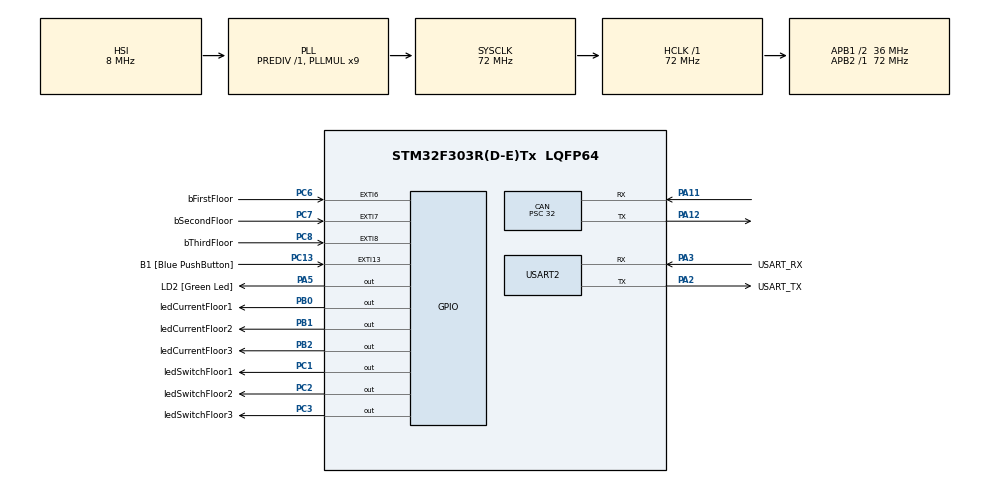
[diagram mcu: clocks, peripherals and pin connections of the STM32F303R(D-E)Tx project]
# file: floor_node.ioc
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CAN.BS1=CAN_BS1_6TQ
CAN.BS2=CAN_BS2_2TQ
CAN.CalculateTimeQuantum=888.8888888888889
CAN.Prescaler=32
Mcu.Family=STM32F3
Mcu.Name=STM32F303R(D-E)Tx
Mcu.Package=LQFP64
NVIC.EXTI15_10_IRQn=true\:0\:0\:false\:false\:true\:true\:true
NVIC.EXTI9_5_IRQn=true\:0\:0\:false\:false\:true\:true\:true
NVIC.PriorityGroup=NVIC_PRIORITYGROUP_0
NVIC.USB_LP_CAN_RX0_IRQn=true\:0\:0\:false\:false\:true\:true\:true
PA11.Mode=Master
PA11.Signal=CAN_RX
PA12.Mode=Master
PA12.Signal=CAN_TX
PA13.GPIO_Label=TMS
PA13.Mode=Serial_Wire
PA13.Signal=SYS_JTMS-SWDIO
PA14.GPIO_Label=TCK
PA14.Mode=Serial_Wire
PA14.Signal=SYS_JTCK-SWCLK
PA2.GPIO_Label=USART_TX
PA2.GPIO_Mode=GPIO_MODE_AF_PP
PA2.GPIO_PuPd=GPIO_NOPULL
PA2.GPIO_Speed=GPIO_SPEED_FREQ_LOW
PA2.Mode=Asynchronous
PA2.Signal=USART2_TX
PA3.GPIO_Label=USART_RX
PA3.GPIO_Mode=GPIO_MODE_AF_PP
PA3.GPIO_PuPd=GPIO_NOPULL
PA3.GPIO_Speed=GPIO_SPEED_FREQ_LOW
PA3.Mode=Asynchronous
PA3.Signal=USART2_RX
PA5.GPIO_Label=LD2 [Green Led]
PA5.GPIO_Mode=GPIO_MODE_OUTPUT_PP
PA5.GPIO_PuPd=GPIO_NOPULL
PA5.GPIO_Speed=GPIO_SPEED_FREQ_LOW
PA5.Signal=GPIO_Output
PB0.GPIO_Label=ledCurrentFloor1
PB0.Signal=GPIO_Output
PB1.GPIO_Label=ledCurrentFloor2
PB1.Signal=GPIO_Output
PB2.GPIO_Label=ledCurrentFloor3
PB2.Signal=GPIO_Output
PB3.GPIO_Label=SWO
PB3.Signal=SYS_JTDO-TRACESWO
PC1.GPIO_Label=ledSwitchFloor1
PC1.Signal=GPIO_Output
PC13.GPIO_Label=B1 [Blue PushButton]
PC13.GPIO_ModeDefaultEXTI=GPIO_MODE_IT_RISING
PC13.Signal=GPXTI13
PC14-OSC32_IN.Mode=LSE-External-Oscillator
PC14-OSC32_IN.Signal=RCC_OSC32_IN
PC15-OSC32_OUT.Mode=LSE-External-Oscillator
PC15-OSC32_OUT.Signal=RCC_OSC32_OUT
PC2.GPIO_Label=ledSwitchFloor2
PC2.Signal=GPIO_Output
PC3.GPIO_Label=ledSwitchFloor3
PC3.Signal=GPIO_Output
PC6.GPIO_Label=bFirstFloor
PC6.GPIO_ModeDefaultEXTI=GPIO_MODE_IT_FALLING
PC6.GPIO_PuPd=GPIO_PULLUP
PC6.Signal=GPXTI6
PC7.GPIO_Label=bSecondFloor
PC7.GPIO_ModeDefaultEXTI=GPIO_MODE_IT_FALLING
PC7.GPIO_PuPd=GPIO_PULLUP
PC7.Signal=GPXTI7
PC8.GPIO_Label=bThirdFloor
PC8.GPIO_ModeDefaultEXTI=GPIO_MODE_IT_FALLING
PC8.GPIO_PuPd=GPIO_PULLUP
PC8.Signal=GPXTI8
PF0-OSC_IN.Mode=HSE-External-Clock-Source
PF0-OSC_IN.Signal=RCC_OSC_IN
PF1-OSC_OUT.Signal=RCC_OSC_OUT
ProjectManager.HeapSize=0x200
ProjectManager.StackSize=0x400
ProjectManager.TargetToolchain=TrueSTUDIO
RCC.AHBFreq_Value=72000000
RCC.APB1CLKDivider=RCC_HCLK_DIV2
RCC.APB1Freq_Value=36000000
RCC.APB1TimFreq_Value=72000000
RCC.APB2Freq_Value=72000000
RCC.APB2TimFreq_Value=72000000
RCC.CortexFreq_Value=72000000
RCC.HCLKFreq_Value=72000000
RCC.HSE_VALUE=8000000
RCC.HSI_VALUE=8000000
RCC.PLLM=8
RCC.PLLMUL=RCC_PLL_MUL9
RCC.PLLN=336
RCC.PLLP=RCC_PLLP_DIV4
RCC.PLLQ=7
RCC.RCC_PLLsource_Clock_Source_FROM_HSE=RCC_HSE_PREDIV_DIV2
RCC.SYSCLKFreq_VALUE=72000000
RCC.SYSCLKSourceVirtual=RCC_SYSCLKSOURCE_PLLCLK
RCC.USBFreq_Value=72000000
USART2.VirtualMode-Asynchronous=VM_ASYNC
board=NUCLEO-F303RE

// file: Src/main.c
/* USER CODE BEGIN Header */
/**
  ******************************************************************************
  * @file           : main.c
  * @brief          : Main program body
  ******************************************************************************
  * @attention
  *
  * <h2><center>&copy; Copyright (c) 2019 STMicroelectronics.
  * All rights reserved.</center></h2>
  *
  * This software component is licensed by ST under BSD 3-Clause license,
  * the "License"; You may not use this file except in compliance with the
  * License. You may obtain a copy of the License at:
  *                        opensource.org/licenses/BSD-3-Clause
  *
  ******************************************************************************
  */
/* USER CODE END Header */

#include "main.h"

/* USER CODE BEGIN PD */

/* Change the NODE number depending on the floor node */
#define NODE  2

#if NODE == 1					// First floor
#define ID 					0x0201

#elif NODE == 2					// Second floor
#define ID 					0x0202

#elif NODE == 3					// Third floor
#define ID					0x0203

#elif NODE == 4 				// Inside elevator
#define ID					0x0200

#endif

#define FLOOR_1				0x05
#define FLOOR_2				0x06
#define FLOOR_3				0x07

#define NO_BUTTON_PRESSED	0
#define BUTTON_PRESSED 		1

/* USER CODE END PD */

CAN_HandleTypeDef hcan;

UART_HandleTypeDef huart2;

/* USER CODE BEGIN PV */
CAN_TxHeaderTypeDef   TxHeader;
CAN_RxHeaderTypeDef   RxHeader;

uint8_t               TxData[8];
uint8_t               RxData[8];
uint32_t              TxMailbox;

uint8_t msg = FLOOR_1;					// Message from node
uint8_t	BUTTON = NO_BUTTON_PRESSED;		// Button pressed flag changed in interrupt

uint8_t currentFloor = 0;

/* USER CODE END PV */

void SystemClock_Config(void);
static void MX_GPIO_Init(void);
static void MX_CAN_Init(void);
static void MX_USART2_UART_Init(void);
/* USER CODE BEGIN PFP */

void lightFloorLED(char led);
void lightOffSwitchLED();

/* USER CODE END PFP */

int main(void)
{

  /* MCU Configuration--------------------------------------------------------*/

  /* Reset of all peripherals, Initializes the Flash interface and the Systick. */
  HAL_Init();

  /* Configure the system clock */
  SystemClock_Config();

  /* Initialize all configured peripherals */
  MX_GPIO_Init();
  MX_CAN_Init();
  MX_USART2_UART_Init();
  /* USER CODE BEGIN 2 */

  /* Variables */
  uint8_t i;
  char receivedMsg;

  /* USER CODE END 2 */

  /* Infinite loop */
  while (1)
  {

    /* USER CODE BEGIN 3 */

	  /* Light LED depending of current floor */
	  if ((RxData[0] != 0) && (RxData[0] != 0x01)){
		 receivedMsg = RxData[0];

		 if (receivedMsg != currentFloor ){
			 lightFloorLED(receivedMsg);
			 currentFloor = receivedMsg;
		 }
		 for(i=0;i<8;i++){	// Clear buffer
			 RxData[i] = 0x00;
		 }
	  }

	  lightOffSwitchLED();

	  // Transmit.

	  /* Transmit floor message. Floor selected on interrupt */
	  if (BUTTON != 0) {

		 HAL_GPIO_TogglePin(GPIOA,GPIO_PIN_5);
		 HAL_Delay(300);
		 TxData[0] = msg;

		 if (HAL_CAN_AddTxMessage(&hcan, &TxHeader, TxData, &TxMailbox) != HAL_OK){
			 Error_Handler();
		 }

		 HAL_GPIO_TogglePin(GPIOA,GPIO_PIN_5);
		 BUTTON = NO_BUTTON_PRESSED;
	 }
  }
  /* USER CODE END 3 */
}

void SystemClock_Config(void)
{
  RCC_OscInitTypeDef RCC_OscInitStruct = {0};
  RCC_ClkInitTypeDef RCC_ClkInitStruct = {0};
  RCC_PeriphCLKInitTypeDef PeriphClkInit = {0};

  /** Initializes the CPU, AHB and APB busses clocks
  */
  RCC_OscInitStruct.OscillatorType = RCC_OSCILLATORTYPE_HSI;
  RCC_OscInitStruct.HSIState = RCC_HSI_ON;
  RCC_OscInitStruct.HSICalibrationValue = RCC_HSICALIBRATION_DEFAULT;
  RCC_OscInitStruct.PLL.PLLState = RCC_PLL_ON;
  RCC_OscInitStruct.PLL.PLLSource = RCC_PLLSOURCE_HSI;
  RCC_OscInitStruct.PLL.PLLMUL = RCC_PLL_MUL9;
  RCC_OscInitStruct.PLL.PREDIV = RCC_PREDIV_DIV1;
  if (HAL_RCC_OscConfig(&RCC_OscInitStruct) != HAL_OK)
  {
    Error_Handler();
  }
  /** Initializes the CPU, AHB and APB busses clocks
  */
  RCC_ClkInitStruct.ClockType = RCC_CLOCKTYPE_HCLK|RCC_CLOCKTYPE_SYSCLK
                              |RCC_CLOCKTYPE_PCLK1|RCC_CLOCKTYPE_PCLK2;
  RCC_ClkInitStruct.SYSCLKSource = RCC_SYSCLKSOURCE_PLLCLK;
  RCC_ClkInitStruct.AHBCLKDivider = RCC_SYSCLK_DIV1;
  RCC_ClkInitStruct.APB1CLKDivider = RCC_HCLK_DIV2;
  RCC_ClkInitStruct.APB2CLKDivider = RCC_HCLK_DIV1;

  if (HAL_RCC_ClockConfig(&RCC_ClkInitStruct, FLASH_LATENCY_2) != HAL_OK)
  {
    Error_Handler();
  }
  PeriphClkInit.PeriphClockSelection = RCC_PERIPHCLK_USART2;
  PeriphClkInit.Usart2ClockSelection = RCC_USART2CLKSOURCE_PCLK1;
  if (HAL_RCCEx_PeriphCLKConfig(&PeriphClkInit) != HAL_OK)
  {
    Error_Handler();
  }
}

static void MX_CAN_Init(void)
{

  hcan.Instance = CAN;
  hcan.Init.Prescaler = 32;
  hcan.Init.Mode = CAN_MODE_NORMAL;
  hcan.Init.SyncJumpWidth = CAN_SJW_1TQ;
  hcan.Init.TimeSeg1 = CAN_BS1_6TQ;
  hcan.Init.TimeSeg2 = CAN_BS2_2TQ;
  hcan.Init.TimeTriggeredMode = DISABLE;
  hcan.Init.AutoBusOff = DISABLE;
  hcan.Init.AutoWakeUp = DISABLE;
  hcan.Init.AutoRetransmission = DISABLE;
  hcan.Init.ReceiveFifoLocked = DISABLE;
  hcan.Init.TransmitFifoPriority = DISABLE;
  if (HAL_CAN_Init(&hcan) != HAL_OK)
  {
    Error_Handler();
  }
  /* USER CODE BEGIN CAN_Init 2 */
  /*******************************************************/
  // Set up CAN Rx filters
  CAN_FilterTypeDef sFilterConfig;

  // Configure filter 0 to direct everything to FIFO 0
  sFilterConfig.FilterBank = 0;
  sFilterConfig.FilterMode = CAN_FILTERMODE_IDMASK;
  sFilterConfig.FilterScale = CAN_FILTERSCALE_32BIT;
  sFilterConfig.FilterIdHigh = 0x0000;
  sFilterConfig.FilterIdLow = 0x0000;
  sFilterConfig.FilterMaskIdHigh = 0x0000;
  sFilterConfig.FilterMaskIdLow = 0x0000;
  sFilterConfig.FilterFIFOAssignment = CAN_FILTER_FIFO0;
  sFilterConfig.FilterActivation = ENABLE;
  sFilterConfig.SlaveStartFilterBank = 0;

  if (HAL_CAN_ConfigFilter(&hcan, &sFilterConfig) != HAL_OK){
    /* Filter configuration Error */
    Error_Handler();
  }

  // Start CAN peripheral
  if (HAL_CAN_Start(&hcan) != HAL_OK){
    /* Start Error */
    Error_Handler();
  }

  // Activate CAN Rx notification interrupt
  if (HAL_CAN_ActivateNotification(&hcan, CAN_IT_RX_FIFO0_MSG_PENDING) != HAL_OK){
    /* Notification Error */
    Error_Handler();
  }

  TxHeader.IDE = CAN_ID_STD;	// Using standard mode. Note CAN_ID_EXT for extended mode
  TxHeader.ExtId = 0x00;		// Extented id not used
  TxHeader.StdId = ID;			// ID defined in constant sections
  TxHeader.RTR = CAN_RTR_DATA;	// Send a data frame nor an RTR
  TxHeader.DLC = 1;				// Data length code = 1 (just one byte)
  TxHeader.TransmitGlobalTime = DISABLE;

  /****************************************************************/

  /* USER CODE END CAN_Init 2 */

}

static void MX_USART2_UART_Init(void)
{

  huart2.Instance = USART2;
  huart2.Init.BaudRate = 38400;
  huart2.Init.WordLength = UART_WORDLENGTH_8B;
  huart2.Init.StopBits = UART_STOPBITS_1;
  huart2.Init.Parity = UART_PARITY_NONE;
  huart2.Init.Mode = UART_MODE_TX_RX;
  huart2.Init.HwFlowCtl = UART_HWCONTROL_NONE;
  huart2.Init.OverSampling = UART_OVERSAMPLING_16;
  huart2.Init.OneBitSampling = UART_ONE_BIT_SAMPLE_DISABLE;
  huart2.AdvancedInit.AdvFeatureInit = UART_ADVFEATURE_NO_INIT;
  if (HAL_UART_Init(&huart2) != HAL_OK)
  {
    Error_Handler();
  }

}

static void MX_GPIO_Init(void)
{
  GPIO_InitTypeDef GPIO_InitStruct = {0};

  /* GPIO Ports Clock Enable */
  __HAL_RCC_GPIOC_CLK_ENABLE();
  __HAL_RCC_GPIOF_CLK_ENABLE();
  __HAL_RCC_GPIOA_CLK_ENABLE();
  __HAL_RCC_GPIOB_CLK_ENABLE();

  /*Configure GPIO pin Output Level */
  HAL_GPIO_WritePin(GPIOC, ledSwitchFloor1_Pin|ledSwitchFloor2_Pin|ledSwitchFloor3_Pin, GPIO_PIN_RESET);

  /*Configure GPIO pin Output Level */
  HAL_GPIO_WritePin(LD2_GPIO_Port, LD2_Pin, GPIO_PIN_RESET);

  /*Configure GPIO pin Output Level */
  HAL_GPIO_WritePin(GPIOB, ledCurrentFloor1_Pin|ledCurrentFloor2_Pin|ledCurrentFloor3_Pin, GPIO_PIN_RESET);

  /*Configure GPIO pin : B1_Pin */
  GPIO_InitStruct.Pin = B1_Pin;
  GPIO_InitStruct.Mode = GPIO_MODE_IT_RISING;
  GPIO_InitStruct.Pull = GPIO_NOPULL;
  HAL_GPIO_Init(B1_GPIO_Port, &GPIO_InitStruct);

  /*Configure GPIO pins : ledSwitchFloor1_Pin ledSwitchFloor2_Pin ledSwitchFloor3_Pin */
  GPIO_InitStruct.Pin = ledSwitchFloor1_Pin|ledSwitchFloor2_Pin|ledSwitchFloor3_Pin;
  GPIO_InitStruct.Mode = GPIO_MODE_OUTPUT_PP;
  GPIO_InitStruct.Pull = GPIO_NOPULL;
  GPIO_InitStruct.Speed = GPIO_SPEED_FREQ_LOW;
  HAL_GPIO_Init(GPIOC, &GPIO_InitStruct);

  /*Configure GPIO pin : LD2_Pin */
  GPIO_InitStruct.Pin = LD2_Pin;
  GPIO_InitStruct.Mode = GPIO_MODE_OUTPUT_PP;
  GPIO_InitStruct.Pull = GPIO_NOPULL;
  GPIO_InitStruct.Speed = GPIO_SPEED_FREQ_LOW;
  HAL_GPIO_Init(LD2_GPIO_Port, &GPIO_InitStruct);

  /*Configure GPIO pins : ledCurrentFloor1_Pin ledCurrentFloor2_Pin ledCurrentFloor3_Pin */
  GPIO_InitStruct.Pin = ledCurrentFloor1_Pin|ledCurrentFloor2_Pin|ledCurrentFloor3_Pin;
  GPIO_InitStruct.Mode = GPIO_MODE_OUTPUT_PP;
  GPIO_InitStruct.Pull = GPIO_NOPULL;
  GPIO_InitStruct.Speed = GPIO_SPEED_FREQ_LOW;
  HAL_GPIO_Init(GPIOB, &GPIO_InitStruct);

  /*Configure GPIO pins : bFirstFloor_Pin bSecondFloor_Pin bThirdFloor_Pin */
  GPIO_InitStruct.Pin = bFirstFloor_Pin|bSecondFloor_Pin|bThirdFloor_Pin;
  GPIO_InitStruct.Mode = GPIO_MODE_IT_FALLING;
  GPIO_InitStruct.Pull = GPIO_PULLUP;
  HAL_GPIO_Init(GPIOC, &GPIO_InitStruct);

  /* EXTI interrupt init*/
  HAL_NVIC_SetPriority(EXTI9_5_IRQn, 0, 0);
  HAL_NVIC_EnableIRQ(EXTI9_5_IRQn);

  HAL_NVIC_SetPriority(EXTI15_10_IRQn, 0, 0);
  HAL_NVIC_EnableIRQ(EXTI15_10_IRQn);

}

/* USER CODE BEGIN 4 */

/**************** Private functions start here *************************/

void HAL_GPIO_EXTI_Callback(uint16_t GPIO_Pin){

	/* Depending on GPIO activated */
	if(GPIO_Pin == bThirdFloor_Pin){
		BUTTON = BUTTON_PRESSED;
		msg = FLOOR_3;

		/* Light up switch LED*/
		HAL_GPIO_WritePin(GPIOC,ledSwitchFloor3_Pin, GPIO_PIN_SET);	// Light up switch led

	}else if(GPIO_Pin == bSecondFloor_Pin){
		BUTTON = BUTTON_PRESSED;
		msg = FLOOR_2;

		HAL_GPIO_WritePin(GPIOC,ledSwitchFloor2_Pin, GPIO_PIN_SET);	// Light up switch led

	}else if(GPIO_Pin == bFirstFloor_Pin){
		BUTTON = BUTTON_PRESSED;
		msg = FLOOR_1;

		HAL_GPIO_WritePin(GPIOC,ledSwitchFloor1_Pin, GPIO_PIN_SET);	// Light up switch led

	}else {}	/* Do nothing */

}

void HAL_CAN_RxFifo0MsgPendingCallback(CAN_HandleTypeDef *hcan){
	/* Get the TX message and store in RxData[] buffer */
	if (HAL_CAN_GetRxMessage(hcan, CAN_RX_FIFO0, &RxHeader, RxData) != HAL_OK){
		Error_Handler();
	}
}

void lightFloorLED(char led){

	/* Switch off and on floor LEDs*/
	switch (led){

	case FLOOR_1:	// Light up LED for floor 1
		HAL_GPIO_WritePin(GPIOB, ledCurrentFloor2_Pin | ledCurrentFloor3_Pin, GPIO_PIN_RESET);	// Reset LED
		HAL_GPIO_WritePin(GPIOB,ledCurrentFloor1_Pin, GPIO_PIN_SET);
		break;

	case FLOOR_2:	// Light up LED for floor 2
		HAL_GPIO_WritePin(GPIOB,ledCurrentFloor1_Pin | ledCurrentFloor3_Pin, GPIO_PIN_RESET);	// Reset LED
		HAL_GPIO_WritePin(GPIOB,ledCurrentFloor2_Pin, GPIO_PIN_SET);
		break;

	case FLOOR_3:	// Light up LED for floor 3
		HAL_GPIO_WritePin(GPIOB,ledCurrentFloor1_Pin | ledCurrentFloor2_Pin , GPIO_PIN_RESET);	// Reset LED
		HAL_GPIO_WritePin(GPIOB,ledCurrentFloor3_Pin, GPIO_PIN_SET);
		break;

	default:
		break;

	}
}

void lightOffSwitchLED(){

	/* When elevator arrives to floor turn of switch LED */
	switch (currentFloor){

	case FLOOR_1:	// Light up LED for floor 1
		HAL_GPIO_WritePin(GPIOC,ledSwitchFloor1_Pin, GPIO_PIN_RESET);	// Light up switch led
		break;

	case FLOOR_2:	// Light up LED for floor 2
		HAL_GPIO_WritePin(GPIOC,ledSwitchFloor2_Pin, GPIO_PIN_RESET);	// Light OFF switch led
		break;

	case FLOOR_3:	// Light up LED for floor 3
		HAL_GPIO_WritePin(GPIOC,ledSwitchFloor3_Pin, GPIO_PIN_RESET);	// Light up switch led
		break;

	}
}

/***********************************************************************/
/* USER CODE END 4 */

void Error_Handler(void)
{
}

/************************ (C) COPYRIGHT STMicroelectronics *****END OF FILE****/
